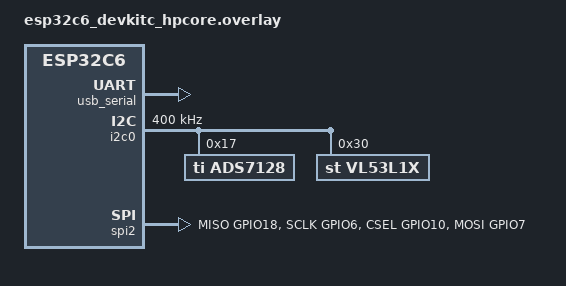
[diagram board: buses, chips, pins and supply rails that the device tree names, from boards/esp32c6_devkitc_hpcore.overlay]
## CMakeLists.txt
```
# SPDX-License-Identifier: Apache-2.0

cmake_minimum_required(VERSION 3.20.0)

find_package(Zephyr REQUIRED HINTS $ENV{ZEPHYR_BASE})
project(sensor_bringup)

target_sources(app PRIVATE src/main.c src/pmw3901.c)
```

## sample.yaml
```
sample:
  description: Test ADS7128 I2C ADC expander connection
  name: ads7128 test
common:
  tags: i2c adc sensor
  integration_platforms:
    - esp32c6_devkitc_hpcore
  harness: console
  harness_config:
    type: one_line
    regex:
      - "ADS7128.*connected successfully"
tests:
  sample.riskybird.ads7128_test:
    tags: i2c adc sensor
    platform_allow: esp32c6_devkitc_hpcore
```

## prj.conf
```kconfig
CONFIG_I2C=y
CONFIG_SENSOR=y
CONFIG_GPIO=y
CONFIG_SPI=y

# Enable ST HAL module so the VL53L1X driver can be built
CONFIG_VL53L1X=y
CONFIG_VL53L1X_INTERRUPT_MODE=n

# Enable float support in printf (picolibc)
CONFIG_PICOLIBC_IO_FLOAT=y
```

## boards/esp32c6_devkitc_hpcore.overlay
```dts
/*
 * SPDX-License-Identifier: Apache-2.0
 * 
 * Overlay for ADS7128 I2C ADC Expander Test
 * 
 * ADS7128 is configured at I2C address 0x17
 * Reference: ADS7128 datasheet (SBAS868A)
 */

/ {
	aliases {
		tof0 = &vl53l1x;
	};
	/* Route console to USB Serial/JTAG so the I2C scan prints on /dev/ttyACM*. */
	chosen {
		zephyr,console = &usb_serial;
		zephyr,shell-uart = &usb_serial;
	};
};

&usb_serial {
	status = "okay";
};

&pinctrl {
	i2c0_default: i2c0_default {
		group1 {
			/* I2C pins for custom ESP32C6 PCB (riskybird) */
			pinmux = <I2C0_SDA_GPIO15>,
				 <I2C0_SCL_GPIO14>;
			bias-pull-up;
			drive-open-drain;
			output-high;
		};
	};

	spim2_pmw3901: spim2_pmw3901 {
		group1 {
			/* SPI2 pins for PMW3901 (riskybird PCB) */
			pinmux = <SPIM2_MISO_GPIO18>,
				 <SPIM2_SCLK_GPIO6>,
				 <SPIM2_CSEL_GPIO10>;
		};

		group2 {
			pinmux = <SPIM2_MOSI_GPIO7>;
			output-low;
		};
	};
};

&i2c0 {
	status = "okay";
	pinctrl-0 = <&i2c0_default>;
	pinctrl-names = "default";
	clock-frequency = <I2C_BITRATE_FAST>;
	
	/* ADS7128 I2C ADC Expander at address 0x17
	 * Note: ADS7128 doesn't have a standard Zephyr driver yet,
	 * so we're just validating I2C communication.
	 * The device tree node is optional but helps document the hardware.
	 * GPIO6 on ADS7128 is used to enable/disable the VL53L1X sensor.
	 */
	ads7128@17 {
		compatible = "ti,ads7128";
		reg = <0x17>;
		status = "okay";
	};
	
	/* VL53L1X Time-of-Flight sensor
	 * Reprogrammed to I2C address 0x30 (default is 0x29)
	 * XSHUT control is handled via ADS7128 GPIO6 in application code
	 */
	vl53l1x: vl53l1x@30 {
		compatible = "st,vl53l1x";
		reg = <0x30>;
		status = "okay";
	};
};

&spi2 {
	status = "okay";
	pinctrl-0 = <&spim2_pmw3901>;
	pinctrl-names = "default";
};
```

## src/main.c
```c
/*
 * SPDX-License-Identifier: Apache-2.0
 * 
 * Sensor Bringup: I2C scan with GPIO control
 * 
 * This sample configures ADS7128 GPIO6, then performs I2C scans
 * with GPIO6 in different states to help identify devices that
 * may be enabled/disabled by GPIO control.
 */

#include <zephyr/kernel.h>
#include <zephyr/device.h>
#include <zephyr/drivers/i2c.h>
#include <zephyr/drivers/sensor.h>
#include <zephyr/drivers/sensor/vl53l1x.h>
#include <zephyr/devicetree.h>
#include <stdio.h>
#include <stdint.h>
#include <errno.h>

#include "ads7128.h"
#include "pmw3901.h"

#define I2C_NODE DT_NODELABEL(i2c0)
#define SPI_NODE DT_NODELABEL(spi2)
#define GPIO_NODE DT_NODELABEL(gpio0)
#define ADS7128_I2C_ADDR 0x17
#define VL53L1X_OLD_ADDR 0x29
#define VL53L1X_NEW_ADDR 0x30
#define VL53L1X_I2C_SLAVE_ADDR_REG 0x01  /* Register to change I2C address */

/* PMW3901 pins (riskybird PCB) */
#define PMW3901_CS_GPIO_PIN    19
#define PMW3901_RESET_GPIO_PIN 2

/* ADS7128 I2C command opcodes (Table 9 in datasheet, section 8.5.1/8.5.2) */
#define ADS7128_CMD_REG_WRITE 0x08  /* 0000 1000b: Single register write */
#define ADS7128_CMD_REG_READ  0x10  /* 0001 0000b: Single register read  */

/* Helper function to read a register */
static int ads7128_read_reg(const struct device *i2c_dev, uint8_t reg_addr, uint8_t *data)
{
    uint8_t tx[2] = { ADS7128_CMD_REG_READ, reg_addr };
    int ret = i2c_write(i2c_dev, tx, sizeof(tx), ADS7128_I2C_ADDR);
    if (ret != 0) {
        return ret;
    }
    return i2c_read(i2c_dev, data, 1, ADS7128_I2C_ADDR);
}

/* Helper function to write a register */
static int ads7128_write_reg(const struct device *i2c_dev, uint8_t reg_addr, uint8_t data)
{
    uint8_t buf[3] = { ADS7128_CMD_REG_WRITE, reg_addr, data };
    return i2c_write(i2c_dev, buf, sizeof(buf), ADS7128_I2C_ADDR);
}

/* Configure a channel as GPIO output */
static int ads7128_config_gpio_output(const struct device *i2c_dev, uint8_t channel)
{
    int ret;
    uint8_t pin_cfg, gpio_cfg, gpo_drive_cfg;
    
    if (channel > 7) {
        return -EINVAL;
    }
    
    ret = ads7128_read_reg(i2c_dev, PIN_CFG_ADDRESS, &pin_cfg);
    if (ret != 0) return ret;
    pin_cfg |= (1U << channel);
    ret = ads7128_write_reg(i2c_dev, PIN_CFG_ADDRESS, pin_cfg);
    if (ret != 0) return ret;
    
    ret = ads7128_read_reg(i2c_dev, GPIO_CFG_ADDRESS, &gpio_cfg);
    if (ret != 0) return ret;
    gpio_cfg |= (1 << channel);
    ret = ads7128_write_reg(i2c_dev, GPIO_CFG_ADDRESS, gpio_cfg);
    if (ret != 0) return ret;
    
    ret = ads7128_read_reg(i2c_dev, GPO_DRIVE_CFG_ADDRESS, &gpo_drive_cfg);
    if (ret != 0) return ret;
    gpo_drive_cfg |= (1U << channel);
    ret = ads7128_write_reg(i2c_dev, GPO_DRIVE_CFG_ADDRESS, gpo_drive_cfg);
    
    return ret;
}

/* Write a digital value to a GPIO channel */
static int ads7128_write_gpio(const struct device *i2c_dev, uint8_t channel, uint8_t value)
{
    int ret;
    uint8_t gpo_value;
    
    if (channel > 7) {
        return -EINVAL;
    }
    
    ret = ads7128_read_reg(i2c_dev, GPO_VALUE_ADDRESS, &gpo_value);
    if (ret != 0) {
        return ret;
    }
    
    if (value) {
        gpo_value |= (1 << channel);
    } else {
        gpo_value &= ~(1 << channel);
    }
    
    return ads7128_write_reg(i2c_dev, GPO_VALUE_ADDRESS, gpo_value);
}

/* Reprogram VL53L1X I2C address from old_addr to new_addr
 * The sensor must be powered (XSHUT high) to accept I2C commands.
 * We mirror the ST API (VL53L1_SetDeviceAddress): write the new 7-bit
 * address to register VL53L1_I2C_SLAVE__DEVICE_ADDRESS (0x0001).
 * No XSHUT cycling is required for the change to take effect.
 */
static int vl53l1x_change_address(const struct device *i2c_dev, 
                                   uint8_t old_addr, uint8_t new_addr)
{
    uint8_t write_buf[3];
    uint8_t reg_addr[2];
    uint8_t read_back;
    int ret;
    uint8_t gpo_value;
    int i;

    printf("Reprogramming VL53L1X from 0x%02X to 0x%02X...\n", old_addr, new_addr);

    /* Ensure XSHUT is HIGH (sensor must be powered to accept I2C commands) */
    ret = ads7128_read_reg(i2c_dev, GPO_VALUE_ADDRESS, &gpo_value);
    if (ret != 0) {
        printf("ERROR: Failed to read GPO_VALUE (ret: %d)\n", ret);
        return ret;
    }
    if (!(gpo_value & (1 << 6))) {
        printf("ERROR: XSHUT (GPIO6) must be HIGH to reprogram address\n");
        return -EINVAL;
    }

    /* Wait for sensor to be ready after power-on (boot time + I2C ready) */
    k_msleep(50);

    /* Verify sensor responds at old address before attempting to reprogram */
    printf("Verifying sensor at old address 0x%02X...\n", old_addr);
    for (i = 0; i < 5; i++) {
        ret = i2c_write(i2c_dev, NULL, 0, old_addr);
        if (ret == 0) {
            printf("Sensor confirmed at 0x%02X\n", old_addr);
            break;
        }
        k_msleep(10);
    }
    if (ret != 0) {
        printf("WARNING: Sensor not responding at 0x%02X (ret: %d), continuing anyway...\n", old_addr, ret);
    }

    /* VL53L1X uses 16-bit register addresses, MSB first, then LSB, then data
     * Format matches VL53L1_WriteMulti: buffer[0]=MSB, buffer[1]=LSB, buffer[2]=data
     */
    write_buf[0] = (VL53L1X_I2C_SLAVE_ADDR_REG >> 8) & 0xFF;  /* Register MSB (0x00) */
    write_buf[1] = VL53L1X_I2C_SLAVE_ADDR_REG & 0xFF;          /* Register LSB (0x8A) */
    write_buf[2] = new_addr;                                   /* New address value */

    /* Write to the sensor at its current address (old_addr) */
    printf("Writing new address 0x%02X to register 0x%04X...\n", new_addr, VL53L1X_I2C_SLAVE_ADDR_REG);
    ret = i2c_write(i2c_dev, write_buf, sizeof(write_buf), old_addr);
    if (ret != 0) {
        printf("ERROR: Failed to write new address (ret: %d)\n", ret);
        printf("  Transaction: [0x%02X 0x%02X 0x%02X] to addr 0x%02X\n", 
               write_buf[0], write_buf[1], write_buf[2], old_addr);
        return ret;
    }

    k_msleep(10); /* Small delay for address change to take effect */

    /* Read back 0x0001 at old address to confirm write */
    reg_addr[0] = write_buf[0];
    reg_addr[1] = write_buf[1];
    ret = i2c_write_read(i2c_dev, old_addr, reg_addr, sizeof(reg_addr),
                         &read_back, 1);
    if (ret != 0) {
        printf("WARNING: Failed to read back 0x%04X at 0x%02X (ret: %d)\n",
               VL53L1X_I2C_SLAVE_ADDR_REG, old_addr, ret);
    } else {
        printf("Read-back at old addr: 0x%02X (expected 0x%02X)\n",
               read_back, new_addr);
    }

    /* Try reading 0x0001 at new address without cycling XSHUT */
    ret = i2c_write_read(i2c_dev, new_addr, reg_addr, sizeof(reg_addr),
                         &read_back, 1);
    if (ret != 0) {
        printf("WARNING: Failed to read back 0x%04X at new addr 0x%02X (ret: %d)\n",
               VL53L1X_I2C_SLAVE_ADDR_REG, new_addr, ret);
    } else {
        printf("Read-back after XSHUT at new addr: 0x%02X\n", read_back);
    }

    printf("VL53L1X address reprogrammed sequence complete.\n");
    return 0;
}

/* Perform I2C bus scan */
static void i2c_scan(const struct device *i2c_dev)
{
    printf("Scanning I2C bus...\n");
    
    int found_count = 0;
    for (uint8_t addr = 0x03; addr <= 0x77; addr++) {
        int ret = i2c_write(i2c_dev, NULL, 0, addr);
        if (ret == 0) {
            printf("  Found device at 0x%02X\n", addr);
            found_count++;
        }
        k_msleep(10);
    }
    
    if (found_count == 0) {
        printf("  No devices found.\n");
    } else {
        printf("  Total: %d device(s) found.\n", found_count);
    }
}

/* PMW3901 device/config instantiated at runtime (bring-up oriented) */
static struct pmw3901_config pmw3901_cfg;
static struct pmw3901_data pmw3901_data;
static const struct device pmw3901_device = {
	.name = "PMW3901",
	.config = &pmw3901_cfg,
	.data = &pmw3901_data,
};

#define PMW3901_DEV (&pmw3901_device)

static int pmw3901_init_config(void)
{
	if (!DT_NODE_EXISTS(SPI_NODE) || !DT_NODE_EXISTS(GPIO_NODE)) {
		printf("PMW3901: missing SPI/GPIO devicetree nodes\n");
		return -ENODEV;
	}

	const struct device *spi_dev = DEVICE_DT_GET(SPI_NODE);
	const struct device *gpio_dev = DEVICE_DT_GET(GPIO_NODE);
	if (spi_dev == NULL || gpio_dev == NULL) {
		return -ENODEV;
	}

	pmw3901_cfg.spi.bus = spi_dev;
	/* PMW3901 uses SPI mode 3 (CPOL=1, CPHA=1) */
	pmw3901_cfg.spi.config.operation =
		SPI_WORD_SET(8) | SPI_OP_MODE_MASTER | SPI_MODE_CPOL | SPI_MODE_CPHA |
		SPI_TRANSFER_MSB;
	pmw3901_cfg.spi.config.frequency = 2000000; /* 2 MHz bring-up */
	pmw3901_cfg.spi.config.slave = 0;

	pmw3901_cfg.cs_gpio.port = gpio_dev;
	pmw3901_cfg.cs_gpio.pin = PMW3901_CS_GPIO_PIN;
	pmw3901_cfg.cs_gpio.dt_flags = GPIO_ACTIVE_LOW;

	pmw3901_cfg.reset_gpio.port = gpio_dev;
	pmw3901_cfg.reset_gpio.pin = PMW3901_RESET_GPIO_PIN;
	pmw3901_cfg.reset_gpio.dt_flags = GPIO_ACTIVE_LOW;

	return 0;
}

int main(void)
{
    const struct device *i2c_dev = DEVICE_DT_GET(I2C_NODE);
    int ret;

    printf("Sensor Bringup: I2C Scan with GPIO Control\n");
    printf("==========================================\n\n");

    /* Initialize PMW3901 optical flow sensor before doing I2C scans */
    printf("Initializing PMW3901 (optical flow)...\n");
    ret = pmw3901_init_config();
    if (ret != 0) {
        printf("WARNING: PMW3901 config init failed (ret: %d), continuing\n\n", ret);
    } else if (!device_is_ready(pmw3901_cfg.spi.bus) || !device_is_ready(pmw3901_cfg.cs_gpio.port)) {
        printf("WARNING: PMW3901 SPI/GPIO not ready, continuing\n\n");
    } else {
        ret = pmw3901_init(PMW3901_DEV);
        if (ret != 0) {
            printf("WARNING: PMW3901 init failed (ret: %d), continuing\n\n", ret);
        } else {
            printf("PMW3901 initialized.\n\n");
        }
    }

    /* Check if I2C device is ready */
    if (!device_is_ready(i2c_dev)) {
        printf("ERROR: I2C device %s is not ready.\n", i2c_dev->name);
        return 1;
    }
    printf("I2C device ready: %s\n\n", i2c_dev->name);

    /* Configure ADS7128 GPIO1, GPIO2, GPIO3, GPIO4, and GPIO6 as outputs */
    printf("Configuring ADS7128 GPIO1, GPIO2, GPIO3, GPIO4, and GPIO6 as outputs...\n");
    for (int gpio = 1; gpio <= 4; gpio++) {
        ret = ads7128_config_gpio_output(i2c_dev, gpio);
        if (ret != 0) {
            printf("ERROR: Failed to configure GPIO%d (ret: %d)\n", gpio, ret);
            return 1;
        }
    }
    ret = ads7128_config_gpio_output(i2c_dev, 6);
    if (ret != 0) {
        printf("ERROR: Failed to configure GPIO6 (ret: %d)\n", ret);
        return 1;
    }
    printf("GPIO1-4 and GPIO6 configured successfully.\n\n");

    /* Set GPIO1, GPIO2, GPIO3, GPIO4, and GPIO6 to LOW and perform first scan */
    printf("Setting GPIO1, GPIO2, GPIO3, GPIO4, and GPIO6 to LOW...\n");
    for (int gpio = 1; gpio <= 4; gpio++) {
        ret = ads7128_write_gpio(i2c_dev, gpio, 0);
        if (ret != 0) {
            printf("ERROR: Failed to set GPIO%d LOW (ret: %d)\n", gpio, ret);
            return 1;
        }
    }
    ret = ads7128_write_gpio(i2c_dev, 6, 0);
    if (ret != 0) {
        printf("ERROR: Failed to set GPIO6 LOW (ret: %d)\n", ret);
        return 1;
    }
    k_msleep(100); /* Allow time for GPIO to settle */
    
    printf("\n--- I2C Scan #1 (GPIO1-4, GPIO6 = LOW) ---\n");
    i2c_scan(i2c_dev);
    
    /* Set GPIO6 to HIGH and perform second scan (GPIO1-4 remain LOW) */
    printf("\nSetting GPIO6 to HIGH (GPIO1-4 remain LOW)...\n");
    ret = ads7128_write_gpio(i2c_dev, 6, 1);
    if (ret != 0) {
        printf("ERROR: Failed to set GPIO6 HIGH (ret: %d)\n", ret);
        return 1;
    }
    k_msleep(100); /* Allow time for GPIO to settle */
    
    printf("\n--- I2C Scan #2 (GPIO1-4 = LOW, GPIO6 = HIGH) ---\n");
    i2c_scan(i2c_dev);

    /* Give the ToF sensor a moment after enabling via GPIO6 */
    k_msleep(100);

    /* Reprogram VL53L1X address from 0x29 to 0x30 */
    ret = vl53l1x_change_address(i2c_dev, VL53L1X_OLD_ADDR, VL53L1X_NEW_ADDR);
    if (ret != 0) {
        printf("ERROR: Failed to reprogram VL53L1X address (ret: %d)\n", ret);
        printf("Continuing anyway - sensor may already be at new address.\n");
    }
    k_msleep(100); /* Allow time for sensor to stabilize after address change */

    /* Verify sensor is at new address */
    printf("Verifying VL53L1X at address 0x%02X...\n", VL53L1X_NEW_ADDR);
    ret = i2c_write(i2c_dev, NULL, 0, VL53L1X_NEW_ADDR);
    if (ret != 0) {
        printf("WARNING: VL53L1X not found at address 0x%02X (ret: %d)\n",
               VL53L1X_NEW_ADDR, ret);
        printf("Checking old address 0x%02X...\n", VL53L1X_OLD_ADDR);
        ret = i2c_write(i2c_dev, NULL, 0, VL53L1X_OLD_ADDR);
        if (ret == 0) {
            printf("Sensor still at old address. Address reprogramming may have failed.\n");
        }
    } else {
        printf("VL53L1X confirmed at address 0x%02X\n\n", VL53L1X_NEW_ADDR);
    }

    /* Wait a bit for the sensor to be ready after address change.
     * Note: We do NOT power cycle here as that would reset the address back to default.
     */
    printf("Waiting for sensor to stabilize after address change...\n");
    k_msleep(50);

    /* Verify sensor is still responding at new address before initializing */
    printf("Verifying sensor is responding at address 0x%02X...\n", VL53L1X_NEW_ADDR);
    ret = i2c_write(i2c_dev, NULL, 0, VL53L1X_NEW_ADDR);
    if (ret != 0) {
        printf("WARNING: Sensor not responding at 0x%02X (ret: %d), continuing anyway...\n", 
               VL53L1X_NEW_ADDR, ret);
    } else {
        printf("Sensor confirmed responding at 0x%02X\n", VL53L1X_NEW_ADDR);
    }

    /* Initialize the sensor now that it's powered and address is reprogrammed */
    const struct device *tof_dev = DEVICE_DT_GET(DT_ALIAS(tof0));
    
    printf("\nInitializing VL53L1X sensor after address reprogramming...\n");
    ret = vl53l1x_reinit(tof_dev);
    if (ret != 0) {
        printf("ERROR: Failed to initialize VL53L1X sensor (ret: %d)\n", ret);
        /* Error code -134 (0xFFFFFF7A) is from ST HAL library.
         * This could indicate sensor not ready, I2C issue, or invalid parameters.
         * Common VL53L1 error codes: 0=SUCCESS, -1=INVALID_PARAMS, -4=TIME_OUT, -13=REF_SPAD_INIT
         */
        printf("Error code %d (0x%08X) from ST HAL library.\n", ret, (unsigned int)ret);
        printf("Make sure:\n");
        printf("  - Sensor is powered (GPIO6 HIGH)\n");
        printf("  - Sensor is at address 0x%02X\n", VL53L1X_NEW_ADDR);
        printf("  - Sensor has had enough time after address change (50ms+)\n");
        printf("  - I2C bus is functioning correctly\n");
        return 1;
    }
    printf("VL53L1X sensor initialized successfully.\n\n");

    /* Enable VL53L5 power/enable via GPIO1 and perform a third I2C scan */
    printf("Enabling VL53L5 via ADS7128 GPIO1 (set HIGH)...\n");
    ret = ads7128_write_gpio(i2c_dev, 1, 1);
    if (ret != 0) {
        printf("ERROR: Failed to set GPIO1 HIGH (ret: %d)\n", ret);
        return 1;
    }
    k_msleep(100); /* Allow time for VL53L5 to power up / enable */

    printf("\n--- I2C Scan #3 (GPIO1 = HIGH, GPIO2-4 = LOW, GPIO6 = HIGH) ---\n");
    i2c_scan(i2c_dev);

    /* Continuously read distance measurements from the VL53L1X */
    printf("\nEntering VL53L1X continuous distance read loop...\n");
    printf("Note: If the driver failed initialization during boot, it may not recover\n");
    printf("automatically. The power cycle should help, but if errors persist, the\n");
    printf("driver may need to be modified to support deferred initialization.\n\n");

    struct sensor_value distance;
    double dist_mm;
    int consecutive_errors = 0;
    const int MAX_CONSECUTIVE_ERRORS = 10;
    motionBurst_t flow_motion;
    bool pmw_ok = (ret == 0);

    while (1) {
        ret = sensor_sample_fetch(tof_dev);
        if (ret < 0) {
            consecutive_errors++;
            if (consecutive_errors <= MAX_CONSECUTIVE_ERRORS) {
                printf("ERROR: sensor_sample_fetch failed (%d) [attempt %d/%d]\n", 
                       ret, consecutive_errors, MAX_CONSECUTIVE_ERRORS);
            }
            if (consecutive_errors == MAX_CONSECUTIVE_ERRORS) {
                printf("\nERROR: Too many consecutive failures. The driver may need to be reinitialized.\n");
                printf("The sensor is at address 0x%02X and GPIO6 is HIGH, but the driver\n", VL53L1X_NEW_ADDR);
                printf("initialized during boot when the sensor wasn't ready.\n");
                printf("Try power-cycling the board or modifying the driver to support runtime initialization.\n");
                return 1;
            }
        } else {
            consecutive_errors = 0; /* Reset error counter on success */
            ret = sensor_channel_get(tof_dev, SENSOR_CHAN_DISTANCE, &distance);
            if (ret < 0) {
                printf("ERROR: sensor_channel_get failed (%d)\n", ret);
            } else {
                /* Distance is reported in meters; print directly using float printf support */
                dist_mm = sensor_value_to_double(&distance);
                if (pmw_ok && (pmw3901_read_motion_burst(PMW3901_DEV, &flow_motion) == 0)) {
                    printf("VL53L1X: %.1f mm | PMW3901: dX=%d dY=%d SQUAL=%u Shutter=%u\n",
                           dist_mm, flow_motion.deltaX, flow_motion.deltaY,
                           flow_motion.squal, flow_motion.shutter);
                } else {
                    printf("VL53L1X: %.1f mm | PMW3901: (no data)\n", dist_mm);
                }
            }
        }

        k_msleep(500); /* Poll every 500 ms */
    }
}
```

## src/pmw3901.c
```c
/*
 * SPDX-License-Identifier: Apache-2.0
 *
 * PMW3901 Optical Flow Sensor - bring-up implementation
 */

#include "pmw3901.h"

#include <zephyr/kernel.h>
#include <string.h>
#include <stdio.h>

/*
 * gpio_dt_spec values are LOGICAL, not raw electrical levels:
 * - value=1 means "active" (asserted)
 * - value=0 means "inactive" (deasserted)
 *
 * Since our CS is configured GPIO_ACTIVE_LOW, asserting CS drives the pin low.
 */
static void cs_deassert(const struct device *dev)
{
	const struct pmw3901_config *config = dev->config;
	(void)gpio_pin_set_dt(&config->cs_gpio, 0);
}

static void cs_assert(const struct device *dev)
{
	const struct pmw3901_config *config = dev->config;
	(void)gpio_pin_set_dt(&config->cs_gpio, 1);
}

static void busy_wait_us(int microseconds)
{
	k_busy_wait(microseconds);
}

uint8_t pmw3901_register_read(const struct device *dev, uint8_t reg)
{
	const struct pmw3901_config *config = dev->config;
	uint8_t data = 0;
	uint8_t tx_data = reg & ~0x80u; /* MSB=0 for read */
	uint8_t dummy = 0;

	struct spi_buf tx_buf = { .buf = &tx_data, .len = 1 };
	struct spi_buf_set tx_bufs = { .buffers = &tx_buf, .count = 1 };

	struct spi_buf rx_buf = { .buf = &data, .len = 1 };
	struct spi_buf_set rx_bufs = { .buffers = &rx_buf, .count = 1 };

	cs_assert(dev);
	busy_wait_us(50);

	/* Send register address */
	(void)spi_write_dt(&config->spi, &tx_bufs);
	busy_wait_us(500);

	/* Read data (send dummy byte) */
	tx_buf.buf = &dummy;
	(void)spi_transceive_dt(&config->spi, &tx_bufs, &rx_bufs);

	busy_wait_us(50);
	cs_deassert(dev);
	k_msleep(1);

	return data;
}

int pmw3901_register_write(const struct device *dev, uint8_t reg, uint8_t value)
{
	const struct pmw3901_config *config = dev->config;
	uint8_t data[2] = { (uint8_t)(reg | 0x80u), value }; /* MSB=1 for write */

	struct spi_buf tx_buf = { .buf = data, .len = 2 };
	struct spi_buf_set tx_bufs = { .buffers = &tx_buf, .count = 1 };

	cs_assert(dev);
	busy_wait_us(50);

	(void)spi_write_dt(&config->spi, &tx_bufs);

	busy_wait_us(50);
	cs_deassert(dev);
	k_msleep(1);

	return 0;
}

static void init_registers(const struct device *dev)
{
	/* Known-good init sequence (ported from ESP-IDF implementations) */
	pmw3901_register_write(dev, 0x7F, 0x00);
	pmw3901_register_write(dev, 0x61, 0xAD);
	pmw3901_register_write(dev, 0x7F, 0x03);
	pmw3901_register_write(dev, 0x40, 0x00);
	pmw3901_register_write(dev, 0x7F, 0x05);
	pmw3901_register_write(dev, 0x41, 0xB3);
	pmw3901_register_write(dev, 0x43, 0xF1);
	pmw3901_register_write(dev, 0x45, 0x14);
	pmw3901_register_write(dev, 0x5B, 0x32);
	pmw3901_register_write(dev, 0x5F, 0x34);
	pmw3901_register_write(dev, 0x7B, 0x08);
	pmw3901_register_write(dev, 0x7F, 0x06);
	pmw3901_register_write(dev, 0x44, 0x1B);
	pmw3901_register_write(dev, 0x40, 0xBF);
	pmw3901_register_write(dev, 0x4E, 0x3F);
	pmw3901_register_write(dev, 0x7F, 0x08);
	pmw3901_register_write(dev, 0x65, 0x20);
	pmw3901_register_write(dev, 0x6A, 0x18);
	pmw3901_register_write(dev, 0x7F, 0x09);
	pmw3901_register_write(dev, 0x4F, 0xAF);
	pmw3901_register_write(dev, 0x5F, 0x40);
	pmw3901_register_write(dev, 0x48, 0x80);
	pmw3901_register_write(dev, 0x49, 0x80);
	pmw3901_register_write(dev, 0x57, 0x77);
	pmw3901_register_write(dev, 0x60, 0x78);
	pmw3901_register_write(dev, 0x61, 0x78);
	pmw3901_register_write(dev, 0x62, 0x08);
	pmw3901_register_write(dev, 0x63, 0x50);
	pmw3901_register_write(dev, 0x7F, 0x0A);
	pmw3901_register_write(dev, 0x45, 0x60);
	pmw3901_register_write(dev, 0x7F, 0x00);
	pmw3901_register_write(dev, 0x4D, 0x11);
	pmw3901_register_write(dev, 0x55, 0x80);
	pmw3901_register_write(dev, 0x74, 0x1F);
	pmw3901_register_write(dev, 0x75, 0x1F);
	pmw3901_register_write(dev, 0x4A, 0x78);
	pmw3901_register_write(dev, 0x4B, 0x78);
	pmw3901_register_write(dev, 0x44, 0x08);
	pmw3901_register_write(dev, 0x45, 0x50);
	pmw3901_register_write(dev, 0x64, 0xFF);
	pmw3901_register_write(dev, 0x65, 0x1F);
	pmw3901_register_write(dev, 0x7F, 0x14);
	pmw3901_register_write(dev, 0x65, 0x67);
	pmw3901_register_write(dev, 0x66, 0x08);
	pmw3901_register_write(dev, 0x63, 0x70);
	pmw3901_register_write(dev, 0x7F, 0x15);
	pmw3901_register_write(dev, 0x48, 0x48);
	pmw3901_register_write(dev, 0x7F, 0x07);
	pmw3901_register_write(dev, 0x41, 0x0D);
	pmw3901_register_write(dev, 0x43, 0x14);
	pmw3901_register_write(dev, 0x4B, 0x0E);
	pmw3901_register_write(dev, 0x45, 0x0F);
	pmw3901_register_write(dev, 0x44, 0x42);
	pmw3901_register_write(dev, 0x4C, 0x80);
	pmw3901_register_write(dev, 0x7F, 0x10);
	pmw3901_register_write(dev, 0x5B, 0x02);
	pmw3901_register_write(dev, 0x7F, 0x07);
	pmw3901_register_write(dev, 0x40, 0x41);
	pmw3901_register_write(dev, 0x70, 0x00);

	k_msleep(10);

	pmw3901_register_write(dev, 0x32, 0x44);
	pmw3901_register_write(dev, 0x7F, 0x07);
	pmw3901_register_write(dev, 0x40, 0x40);
	pmw3901_register_write(dev, 0x7F, 0x06);
	pmw3901_register_write(dev, 0x62, 0xF0);
	pmw3901_register_write(dev, 0x63, 0x00);
	pmw3901_register_write(dev, 0x7F, 0x0D);
	pmw3901_register_write(dev, 0x48, 0xC0);
	pmw3901_register_write(dev, 0x6F, 0xD5);
	pmw3901_register_write(dev, 0x7F, 0x00);
	pmw3901_register_write(dev, 0x5B, 0xA0);
	pmw3901_register_write(dev, 0x4E, 0xA8);
	pmw3901_register_write(dev, 0x5A, 0x50);
	pmw3901_register_write(dev, 0x40, 0x80);

	pmw3901_register_write(dev, 0x7F, 0x00);
	pmw3901_register_write(dev, 0x5A, 0x10);
	pmw3901_register_write(dev, 0x54, 0x00);
}

int pmw3901_init(const struct device *dev)
{
	const struct pmw3901_config *config = dev->config;
	struct pmw3901_data *data = dev->data;
	uint8_t chip_id, inv_chip_id;

	if (!spi_is_ready_dt(&config->spi)) {
		printf("PMW3901: SPI not ready\n");
		return -ENODEV;
	}

	if (!gpio_is_ready_dt(&config->cs_gpio)) {
		printf("PMW3901: CS GPIO not ready\n");
		return -ENODEV;
	}

	/* Configure CS pin (inactive) */
	(void)gpio_pin_configure_dt(&config->cs_gpio, GPIO_OUTPUT_INACTIVE);

	/* Optional reset pin (active-low) */
	if (config->reset_gpio.port) {
		if (!gpio_is_ready_dt(&config->reset_gpio)) {
			printf("PMW3901: reset GPIO not ready\n");
			return -ENODEV;
		}
		(void)gpio_pin_configure_dt(&config->reset_gpio, GPIO_OUTPUT_INACTIVE);
		/* assert then deassert */
		(void)gpio_pin_set_dt(&config->reset_gpio, 1);
		k_msleep(10);
		(void)gpio_pin_set_dt(&config->reset_gpio, 0);
		k_msleep(10);
	}

	k_msleep(40);

	/* CS toggle sequence */
	cs_deassert(dev);
	k_msleep(2);
	cs_assert(dev);
	k_msleep(2);
	cs_deassert(dev);
	k_msleep(2);
	cs_assert(dev);
	k_msleep(2);

	chip_id = pmw3901_register_read(dev, 0x00);
	inv_chip_id = pmw3901_register_read(dev, 0x5F);
	printf("PMW3901 chip ID: 0x%02X, inverted: 0x%02X\n", chip_id, inv_chip_id);

	if (chip_id == 0x49 || inv_chip_id == 0xB6) {
		/* Power on reset */
		pmw3901_register_write(dev, 0x3A, 0x5A);
		k_msleep(5);

		/* Initialize registers */
		init_registers(dev);

		data->last_read_time_us = k_uptime_get() * 1000;
		return 0;
	}

	printf("PMW3901: invalid chip ID\n");
	return -ENODEV;
}

int pmw3901_read_motion_burst(const struct device *dev, motionBurst_t *motion)
{
	const struct pmw3901_config *config = dev->config;
	uint8_t address = 0x16;
	uint8_t rx_buffer[sizeof(motionBurst_t)] = {0};

	struct spi_buf tx_buf = { .buf = &address, .len = 1 };
	struct spi_buf_set tx_bufs = { .buffers = &tx_buf, .count = 1 };

	struct spi_buf rx_buf = { .buf = rx_buffer, .len = sizeof(motionBurst_t) };
	struct spi_buf_set rx_bufs = { .buffers = &rx_buf, .count = 1 };

	cs_assert(dev);
	k_msleep(1);

	(void)spi_write_dt(&config->spi, &tx_bufs);
	k_msleep(1);

	(void)spi_read_dt(&config->spi, &rx_bufs);

	cs_deassert(dev);
	k_msleep(1);

	memcpy(motion, rx_buffer, sizeof(motionBurst_t));

	/* Fix endianness for shutter value */
	uint16_t real_shutter = (motion->shutter >> 8) & 0x0FF;
	real_shutter |= (motion->shutter & 0x0FF) << 8;
	motion->shutter = real_shutter;

	return 0;
}

int pmw3901_read_motion_count(const struct device *dev, int16_t *deltaX, int16_t *deltaY)
{
	(void)pmw3901_register_read(dev, 0x02);
	*deltaY = -1 * (((int16_t)pmw3901_register_read(dev, 0x04) << 8) |
			pmw3901_register_read(dev, 0x03));
	*deltaX = -1 * (((int16_t)pmw3901_register_read(dev, 0x06) << 8) |
			pmw3901_register_read(dev, 0x05));
	return 0;
}
```

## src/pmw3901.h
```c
/*
 * SPDX-License-Identifier: Apache-2.0
 *
 * PMW3901 Optical Flow Sensor (SPI) - minimal driver helpers
 *
 * Note: This is a simple bring-up oriented implementation (not a full Zephyr
 * sensor driver). It uses Zephyr's SPI and GPIO APIs directly.
 */

#ifndef PMW3901_H
#define PMW3901_H

#include <zephyr/device.h>
#include <zephyr/drivers/gpio.h>
#include <zephyr/drivers/spi.h>
#include <stdint.h>

typedef struct motionBurst_s {
	union {
		uint8_t motion;
		struct {
			uint8_t frameFrom0    : 1;
			uint8_t runMode       : 2;
			uint8_t reserved1     : 1;
			uint8_t rawFrom0      : 1;
			uint8_t reserved2     : 2;
			uint8_t motionOccured : 1;
		};
	};

	uint8_t observation;
	int16_t deltaX;
	int16_t deltaY;

	uint8_t squal;
	uint8_t rawDataSum;
	uint8_t maxRawData;
	uint8_t minRawData;

	uint16_t shutter;
} __attribute__((packed)) motionBurst_t;

struct pmw3901_config {
	struct spi_dt_spec spi;
	struct gpio_dt_spec cs_gpio;
	struct gpio_dt_spec reset_gpio; /* Optional: active-low */
};

struct pmw3901_data {
	int64_t last_read_time_us;
};

int pmw3901_init(const struct device *dev);
int pmw3901_read_motion_burst(const struct device *dev, motionBurst_t *motion);
int pmw3901_read_motion_count(const struct device *dev, int16_t *deltaX, int16_t *deltaY);
uint8_t pmw3901_register_read(const struct device *dev, uint8_t reg);
int pmw3901_register_write(const struct device *dev, uint8_t reg, uint8_t value);

#endif /* PMW3901_H */
```
